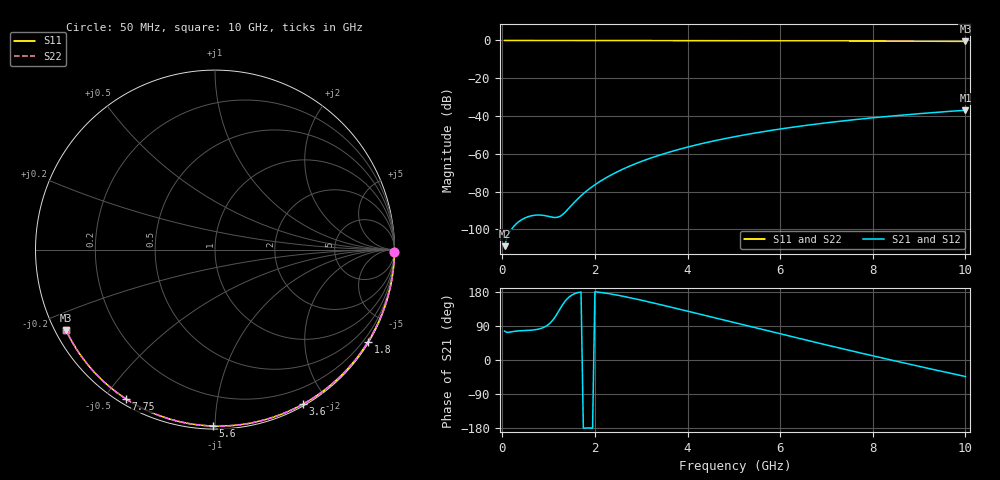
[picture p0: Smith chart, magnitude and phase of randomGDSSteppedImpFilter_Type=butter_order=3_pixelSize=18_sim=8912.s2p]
! freq	dB(S11)	phase(S11)	dB(S12)	phase(S12)
!  dB(S21)	phase(S21)	dB(S22)	phase(S22)
!S-par simulation data
#  GHz  S  DB  R 50
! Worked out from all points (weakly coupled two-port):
!   200 points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, 50 MHz to 10 GHz, reference 50 ohm
!   highest |S21| = -36.94 dB at 10 GHz (marker M1); lowest = -108.9 dB at 50 MHz (marker M2)
!   lowest |S11| = -0.5 dB at 10 GHz (marker M3), VSWR 34.36, Z = 1.55 - j12.7 ohm
!   |S11| at or under -10 dB: nowhere
!   |S22| runs from -0.5 to 0.0 dB; largest |S21 - S12| = 0
!   S11 on the Smith chart (normalised r, x): 50 MHz: open; 1.8 GHz: 0.03, -3.61; 3.6 GHz: 0.02, -1.72; 5.6 GHz: 0.02, -0.99; 7.75 GHz: 0.02, -0.57; 10 GHz: 0.03, -0.25
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0.05  -0.00 -0.9  -108.85 76.2  -108.85 76.2  -0.00 -0.9
0.45  -0.01 -7.9  -94.40 77.4  -94.40 77.4  -0.01 -7.9
0.9  -0.02 -15.6  -92.60 86.4  -92.60 86.4  -0.02 -15.6
1.3  -0.03 -22.5  -92.17 145.5  -92.17 145.5  -0.03 -22.5
1.75  -0.04 -30.1  -81.08 -179.8  -81.08 -179.8  -0.04 -30.1
1.8  -0.04 -31.0  -80.04 -179.4  -80.04 -179.4  -0.04 -31.0
1.95  -0.04 -33.5  -77.21 -179.7  -77.21 -179.7  -0.04 -33.5
2.15  -0.05 -36.8  -73.97 177.9  -73.97 177.9  -0.05 -36.8
2.5  -0.05 -42.6  -69.29 170.8  -69.29 170.8  -0.05 -42.6
2.9  -0.06 -49.2  -64.99 160.6  -64.99 160.6  -0.06 -49.2
3.4  -0.08 -57.2  -60.64 146.6  -60.64 146.6  -0.08 -57.2
3.6  -0.08 -60.4  -59.13 140.7  -59.13 140.7  -0.08 -60.4
4.3  -0.10 -71.3  -54.63 119.9  -54.63 119.9  -0.10 -71.3
5.05  -0.13 -82.6  -50.77 97.4  -50.77 97.4  -0.13 -82.6
5.6  -0.15 -90.6  -48.39 81.0  -48.39 81.0  -0.15 -90.6
6.15  -0.18 -98.5  -46.32 64.6  -46.32 64.6  -0.18 -98.5
6.7  -0.21 -106.3  -44.49 48.4  -44.49 48.4  -0.21 -106.3
7.2  -0.24 -113.2  -43.01 33.9  -43.01 33.9  -0.24 -113.2
7.75  -0.28 -120.8  -41.54 18.1  -41.54 18.1  -0.28 -120.8
8.35  -0.33 -128.9  -40.12 1.2  -40.12 1.2  -0.33 -128.9
9.2  -0.41 -140.5  -38.36 -22.2  -38.36 -22.2  -0.41 -140.5
10  -0.51 -151.5  -36.94 -43.5  -36.94 -43.5  -0.51 -151.5
